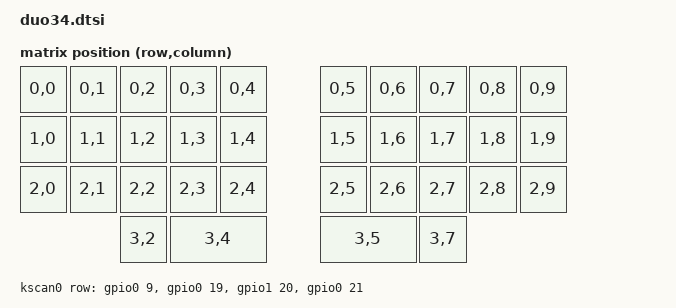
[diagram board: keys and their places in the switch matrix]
/*
 * Copyright (c) 2020 Noir Guo
 *
 * SPDX-License-Identifier: MIT
 */

#include <dt-bindings/zmk/matrix_transform.h>
#include <physical_layouts.dtsi>


/ {
    duo34_layout: duo34_layout {
        compatible = "zmk,physical-layout";
        display-name = "duo34";

	kscan = <&kscan0>;
        transform = <&matrix_transform0>;
 
        keys  //                     w   h    x    y     rot    rx    ry
            = <&key_physical_attrs 100 100    0    0       0     0     0>
            , <&key_physical_attrs 100 100  100    0       0     0     0>
            , <&key_physical_attrs 100 100  200    0       0     0     0>
            , <&key_physical_attrs 100 100  300    0       0     0     0>
            , <&key_physical_attrs 100 100  400    0       0     0     0>
            , <&key_physical_attrs 100 100  600    0       0     0     0>
            , <&key_physical_attrs 100 100  700    0       0     0     0>
            , <&key_physical_attrs 100 100  800    0       0     0     0>
            , <&key_physical_attrs 100 100  900    0       0     0     0>
            , <&key_physical_attrs 100 100 1000    0       0     0     0>
            , <&key_physical_attrs 100 100    0  100       0     0     0>
            , <&key_physical_attrs 100 100  100  100       0     0     0>
            , <&key_physical_attrs 100 100  200  100       0     0     0>
            , <&key_physical_attrs 100 100  300  100       0     0     0>
            , <&key_physical_attrs 100 100  400  100       0     0     0>
            , <&key_physical_attrs 100 100  600  100       0     0     0>
            , <&key_physical_attrs 100 100  700  100       0     0     0>
            , <&key_physical_attrs 100 100  800  100       0     0     0>
            , <&key_physical_attrs 100 100  900  100       0     0     0>
            , <&key_physical_attrs 100 100 1000  100       0     0     0>
            , <&key_physical_attrs 100 100    0  200       0     0     0>
            , <&key_physical_attrs 100 100  100  200       0     0     0>
            , <&key_physical_attrs 100 100  200  200       0     0     0>
            , <&key_physical_attrs 100 100  300  200       0     0     0>
            , <&key_physical_attrs 100 100  400  200       0     0     0>
            , <&key_physical_attrs 100 100  600  200       0     0     0>
            , <&key_physical_attrs 100 100  700  200       0     0     0>
            , <&key_physical_attrs 100 100  800  200       0     0     0>
            , <&key_physical_attrs 100 100  900  200       0     0     0>
            , <&key_physical_attrs 100 100 1000  200       0     0     0>
            , <&key_physical_attrs 100 100  200  300       0     0     0>
            , <&key_physical_attrs 200 100  300  300       0     0     0>
            , <&key_physical_attrs 200 100  600  300       0     0     0>
            , <&key_physical_attrs 100 100  800  300       0     0     0>
            ;
    };
};


/ {
    chosen {
        zmk,kscan = &kscan0;
        zmk,physical-layouts = &duo34_layout;
    };

    default_transform: keymap_transform_0 {
        compatible = "zmk,matrix-transform";
        columns = <10>;
        rows = <4>;

       map = <
   RC(0,0) RC(0,1) RC(0,2) RC(0,3) RC(0,4)      RC(0,5) RC(0,6) RC(0,7) RC(0,8) RC(0,9) 
   RC(1,0) RC(1,1) RC(1,2) RC(1,3) RC(1,4)      RC(1,5) RC(1,6) RC(1,7) RC(1,8) RC(1,9) 
   RC(2,0) RC(2,1) RC(2,2) RC(2,3) RC(2,4)      RC(2,5) RC(2,6) RC(2,7) RC(2,8) RC(2,9) 
                   RC(3,2)         RC(3,4)      RC(3,5)         RC(3,7)                


        >;
    };

    kscan0: kscan {
        compatible = "zmk,kscan-gpio-matrix";
        diode-direction = "col2row";
        wakeup-source;

        row-gpios
            = <&gpio0 9 (GPIO_ACTIVE_HIGH | GPIO_PULL_DOWN)>
            , <&gpio0 19 (GPIO_ACTIVE_HIGH | GPIO_PULL_DOWN)>
            , <&gpio1 20 (GPIO_ACTIVE_HIGH | GPIO_PULL_DOWN)>
            , <&gpio0 21 (GPIO_ACTIVE_HIGH | GPIO_PULL_DOWN)>
        ;

    };

};

&duo34_layout{
	transform = <&default_transform>;
	kscan = <&kscan0>;
};

zephyr_udc0: &usbd { 
        compatible = "nordic,nrf-usbd"; 
        status = "okay"; 
};
